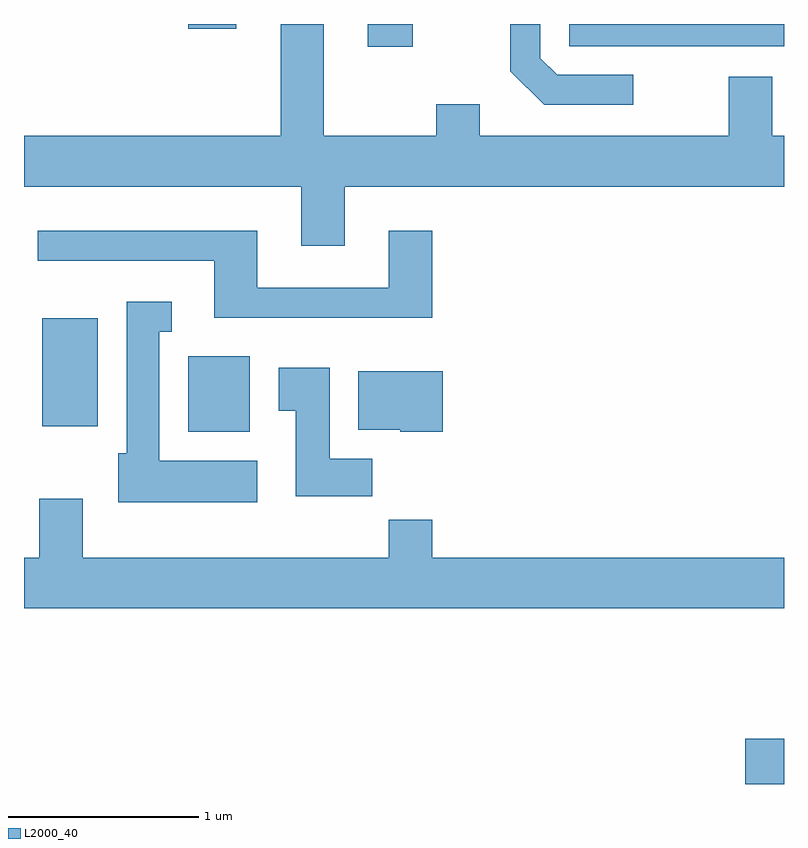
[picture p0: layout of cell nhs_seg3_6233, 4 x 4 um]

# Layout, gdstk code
import gdstk
lib = gdstk.Library(unit=1e-6, precision=1e-09)
def R(c, l, rs):  # rectangles x0, y0, x1, y1
    for r in rs: c.add(gdstk.rectangle(r[:2], r[2:], *l))
def P(c, l, *ps):  # polygons
    for p in ps: c.add(gdstk.Polygon(p, *l))
L2000_40 = (2000, 40)

nhs_seg3_6233 = lib.new_cell('nhs_seg3_6233')
R(nhs_seg3_6233, L2000_40, [(371.406,1213.892,371.611,1214.129), (368.476,1215.746,368.799,1216.144), (367.706,1215.776,367.999,1216.344), (369.421,1217.771,369.658,1217.892), (370.481,1217.776,371.611,1217.892), (368.476,1217.866,368.729,1217.892)])
P(nhs_seg3_6233, L2000_40, [(370.818,1217.624),(370.417,1217.624),(370.329,1217.712),(370.329,1217.892),(370.171,1217.892),(370.171,1217.644),(370.349,1217.466),(370.818,1217.466)],
  [(369.299,1217.036),(371.611,1217.036),(371.611,1217.304),(371.549,1217.304),(371.549,1217.614),(371.321,1217.614),(371.321,1217.304),(370.009,1217.304),(370.009,1217.469),(369.781,1217.469),(369.781,1217.304),(369.189,1217.304),(369.189,1217.892),(368.961,1217.892),(368.961,1217.304),(367.611,1217.304),(367.611,1217.036),(369.071,1217.036),(369.071,1216.726),(369.299,1216.726)],
  [(369.759,1216.804),(369.531,1216.804),(369.531,1216.504),(368.839,1216.504),(368.839,1216.804),(367.683,1216.804),(367.683,1216.646),(368.611,1216.646),(368.611,1216.346),(369.759,1216.346)],
  [(368.839,1215.594),(368.324,1215.594),(368.324,1216.271),(368.388,1216.271),(368.388,1216.429),(368.151,1216.429),(368.151,1215.634),(368.106,1215.634),(368.106,1215.376),(368.839,1215.376)],
  [(369.444,1215.604),(369.219,1215.604),(369.219,1216.084),(368.951,1216.084),(368.951,1215.856),(369.041,1215.856),(369.041,1215.406),(369.444,1215.406)],
  [(369.814,1216.064),(369.371,1216.064),(369.371,1215.756),(369.59,1215.756),(369.59,1215.746),(369.814,1215.746)],
  [(371.611,1215.084),(369.759,1215.084),(369.759,1215.284),(369.531,1215.284),(369.531,1215.084),(367.919,1215.084),(367.919,1215.394),(367.691,1215.394),(367.691,1215.084),(367.611,1215.084),(367.611,1214.816),(371.611,1214.816)])

lib.write_gds('nhs_seg3_6233.gds')
